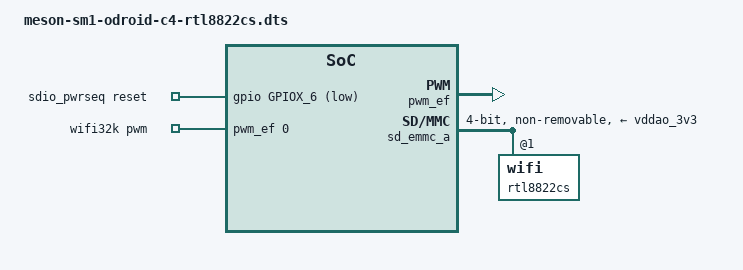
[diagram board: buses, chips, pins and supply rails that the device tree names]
/dts-v1/;
/plugin/;

#include <dt-bindings/interrupt-controller/irq.h>
#include <dt-bindings/gpio/gpio.h>
#include <dt-bindings/gpio/meson-g12a-gpio.h>

/ {
	/* Odroid C4 */
	compatible = "hardkernel,odroid-c4", "amlogic,sm1";

	fragment@0 {
		target-path = "/";
		__overlay__ {
			sdio_pwrseq: sdio-pwrseq {
				compatible = "mmc-pwrseq-simple";
				reset-gpios = <&gpio GPIOX_6 GPIO_ACTIVE_LOW>;
				clocks = <&wifi32k>;
				clock-names = "ext_clock";
			};

			wifi32k: wifi32k {
				compatible = "pwm-clock";
				#clock-cells = <0>;
				clock-frequency = <32768>;
				pwms = <&pwm_ef 0 30518 0>; /* PWM_E at 32.768KHz */
			};
		};
	};

	fragment@1 {
		target = <&pwm_ef>;
		__overlay__ {
			status = "okay";
			pinctrl-0 = <&pwm_e_pins>;
			pinctrl-names = "default";
		};
	};

	/* RTL8822CS SDIO WIFI */
	fragment@2 {
		target = <&sd_emmc_a>;
		__overlay__ {
			status = "okay";
			pinctrl-0 = <&sdio_pins>;
			pinctrl-1 = <&sdio_clk_gate_pins>;
			pinctrl-names = "default", "clk-gate";
			#address-cells = <1>;
			#size-cells = <0>;
			bus-width = <4>;
			sd-uhs-sdr104;
			max-frequency = <50000000>;
			non-removable;
			disable-wp;
			keep-power-in-suspend;
			mmc-pwrseq = <&sdio_pwrseq>;
			vmmc-supply = <&vddao_3v3>;
			vqmmc-supply = <&vddao_1v8>;

			rtl8822cs: wifi@1 {
				reg = <1>;
			};
		};
	};

	/* RTL8822CS BLUETOOTH */
	fragment@3 {
		target = <&uart_A>;
		__overlay__ {
			status = "disabled";
			pinctrl-0 = <&uart_a_pins>, <&uart_a_cts_rts_pins>;
			pinctrl-names = "default";
			uart-has-rtscts;

			bluetooth {
				compatible = "realtek,rtl8822cs-bt";
				enable-gpios  = <&gpio GPIOX_17 GPIO_ACTIVE_HIGH>;
				host-wake-gpios = <&gpio GPIOX_19 GPIO_ACTIVE_HIGH>;
				device-wake-gpios = <&gpio GPIOX_18 GPIO_ACTIVE_HIGH>;
			};
		};
	};
};
